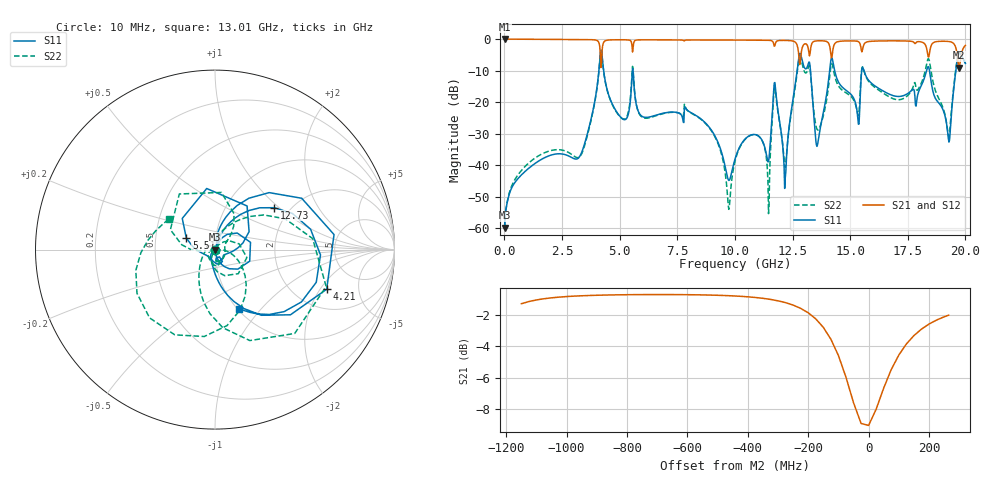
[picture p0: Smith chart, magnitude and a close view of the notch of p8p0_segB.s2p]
! Stitch-density study - 40 x 12 mm symmetric stripline, cut at x=20 mm
! Case: p8p0_segB
! Sweep: 10 MHz - 20 GHz, 25 MHz step, 4 cores
# GHz S MA R 50.000000
! Terminal data exported
! Port[1] = U1.PAD1.SIG
! Port[2] = U2.PAD1.SIG
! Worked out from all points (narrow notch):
!   801 points, 10 MHz to 20 GHz, reference 50 ohm
!   highest |S21| = -0.01 dB at 10 MHz (marker M1); lowest = -9.1 dB at 19.73 GHz (marker M2)
!   notch at M2: 8.7 dB deep, 194 MHz wide at half that depth
!   lowest |S11| = -59.9 dB at 10 MHz (marker M3), VSWR 1.00, Z = 50.1 + j0.0495 ohm
!   |S11| at or under -10 dB: start of sweep to 4.101 GHz; 5.576 GHz to 12.7 GHz (7.123 GHz wide, 78 % of centre); 15.6 GHz to 18.31 GHz (2.717 GHz wide, 16 % of centre)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
!   |S22| runs from -59.9 to -3.7 dB; largest |S21 - S12| = 0
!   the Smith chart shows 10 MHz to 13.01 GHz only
!   S11 on the Smith chart (normalised r, x): 10 MHz: 1.00, +0.00; 4.21 GHz: 2.95, -2.31; 5.51 GHz: 0.72, +0.10; 12.73 GHz: 1.66, +0.93; 13.01 GHz: 1.01, -0.77
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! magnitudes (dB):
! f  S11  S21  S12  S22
! 10 MHz  -59.9  0.0  0.0  -59.9
! 3.36 GHz  -35.9  -0.2  -0.2  -36.3
! 4.21 GHz  -3.6  -8.1  -8.1  -3.8
! 5.06 GHz  -24.9  -0.2  -0.2  -25.0
! 5.51 GHz  -15.3  -1.0  -1.0  -14.5
! 6.685 GHz  -23.9  -0.3  -0.3  -24.1
! 8.81 GHz  -27.3  -0.3  -0.3  -27.5
! 9.735 GHz  -44.9  -0.3  -0.3  -54.1
! 10.01 GHz  -38.0  -0.3  -0.3  -38.7
! 11.44 GHz  -39.0  -0.4  -0.4  -45.5
! 11.76 GHz  -15.5  -1.4  -1.4  -16.2
! 12.19 GHz  -44.0  -0.4  -0.4  -40.7
! 12.73 GHz  -7.9  -3.0  -3.0  -8.7
! 13.01 GHz  -9.0  -1.6  -1.6  -10.3
! 13.36 GHz  -18.2  -1.1  -1.1  -18.1
! 13.59 GHz  -33.6  -0.6  -0.6  -28.9
! 14.21 GHz  -5.9  -5.7  -5.7  -7.8
! 16.68 GHz  -17.5  -0.6  -0.6  -18.3
! 18.39 GHz  -8.7  -5.6  -5.6  -6.2
! 19.26 GHz  -31.5  -0.8  -0.8  -30.6
! 19.73 GHz  -4.5  -9.1  -9.1  -4.2
! 20 GHz  -7.7  -2.0  -2.0  -7.6
